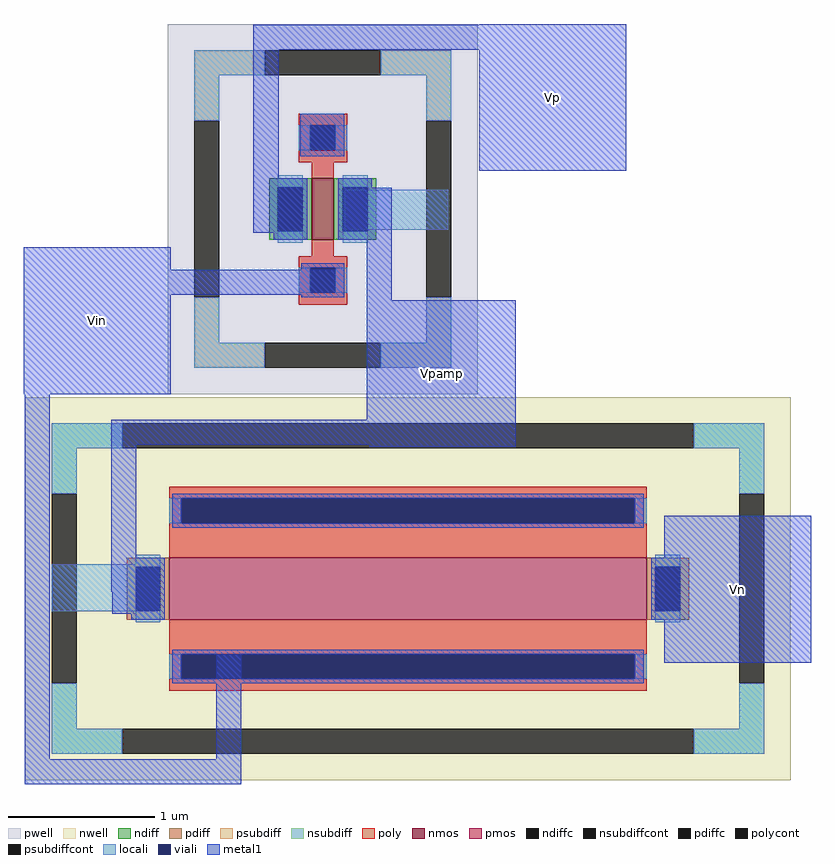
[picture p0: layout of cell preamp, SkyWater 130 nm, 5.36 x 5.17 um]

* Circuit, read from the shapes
.subckt preamp Vp Vin Vpamp Vn
XM1 Vpamp Vin Vp Vpamp sky130_fd_pr__nfet_01v8 w=0.42 l=0.15
XM2 Vn Vin Vpamp Vpamp sky130_fd_pr__pfet_01v8 w=0.42 l=3.25
.ends

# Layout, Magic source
magic
tech sky130A
magscale 1 2
<< locali >>
rect 834 500 976 554
rect 436 -20 582 44
<< metal1 >>
rect 1018 779 1218 780
rect 710 745 1218 779
rect 710 561 745 745
rect 774 600 834 658
rect 1018 580 1218 745
rect 710 497 777 561
rect 831 497 899 557
rect 710 496 744 497
rect 398 445 598 476
rect 398 411 829 445
rect 398 276 598 411
rect 865 404 899 497
rect 399 -221 433 276
rect 865 241 1068 404
rect 517 207 1068 241
rect 517 41 551 207
rect 868 204 1068 207
rect 517 7 583 41
rect 1270 40 1470 110
rect 518 -23 583 7
rect 1258 -18 1470 40
rect 660 -221 694 -78
rect 1270 -90 1470 -18
rect 399 -255 694 -221
use sky130_fd_pr__pfet_01v8_FP437E  XM0
transform 1 0 921 0 1 11
box -521 -261 521 261
use sky130_fd_pr__nfet_01v8_L7T3GD  XM1
transform 1 0 805 0 1 528
box -211 -252 211 252
<< labels >>
flabel metal1 1270 -90 1470 110 0 FreeSans 256 0 0 0 Vn
port 3 nsew
flabel metal1 1018 580 1218 780 0 FreeSans 256 0 0 0 Vp
port 0 nsew
flabel metal1 398 276 598 476 0 FreeSans 256 0 0 0 Vin
port 1 nsew
flabel metal1 868 204 1068 404 0 FreeSans 256 0 0 0 Vpamp
port 2 nsew
<< end >>

# cell sky130_fd_pr__pfet_01v8_FP437E: kit device sky130_fd_pr__pfet_01v8, w 0.42 l 3.25 m 1 nf 1 diffcov 100 polycov 100 guard 1 glc 1 grc 1 gtc 1 gbc 1 tbcov 100 rlcov 100 topc 1 botc 1 poverlap 0 doverlap 1 lmin 0.15 wmin 0.42 compatible {sky130_fd_pr__pfet_01v8 sky130_fd_pr__pfet_01v8_lvt sky130_fd_pr__pfet_01v8_hvt sky130_fd_pr__pfet_g5v0d10v5} full_metal 1 viasrc 100 viadrn 100 viagate 100 viagb 0 viagr 0 viagl 0 viagt 0

# cell sky130_fd_pr__nfet_01v8_L7T3GD: kit device sky130_fd_pr__nfet_01v8, w 0.42 l 0.15 m 1 nf 1 diffcov 100 polycov 100 guard 1 glc 1 grc 1 gtc 1 gbc 1 tbcov 100 rlcov 100 topc 1 botc 1 poverlap 0 doverlap 1 lmin 0.15 wmin 0.42 compatible {sky130_fd_pr__nfet_01v8 sky130_fd_pr__nfet_01v8_lvt sky130_fd_bs_flash__special_sonosfet_star sky130_fd_pr__nfet_g5v0d10v5 sky130_fd_pr__nfet_05v0_nvt sky130_fd_pr__nfet_03v3_nvt} full_metal 1 viasrc 100 viadrn 100 viagate 100 viagb 0 viagr 0 viagl 0 viagt 0
